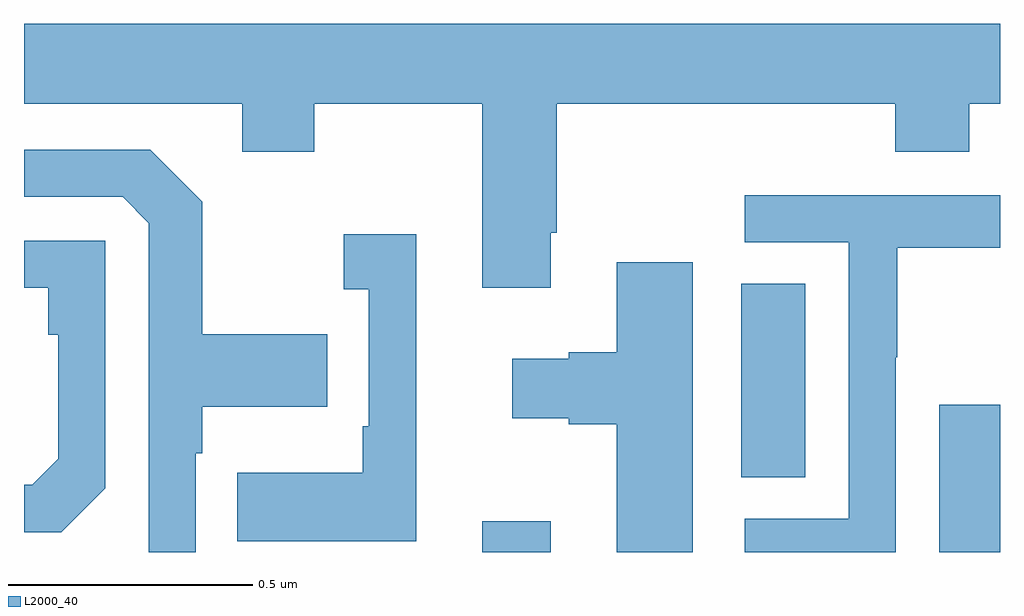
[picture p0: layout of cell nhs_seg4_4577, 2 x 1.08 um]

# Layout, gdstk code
import gdstk
lib = gdstk.Library(unit=1e-6, precision=1e-09)
def R(c, l, rs):  # rectangles x0, y0, x1, y1
    for r in rs: c.add(gdstk.rectangle(r[:2], r[2:], *l))
def P(c, l, *ps):  # polygons
    for p in ps: c.add(gdstk.Polygon(p, *l))
L2000_40 = (2000, 40)

nhs_seg4_4577 = lib.new_cell('nhs_seg4_4577')
R(nhs_seg4_4577, L2000_40, [(167.939,795.9,168.079,795.964), (168.875,795.9,169,796.203), (168.47,796.054,168.601,796.451)])
P(nhs_seg4_4577, L2000_40, [(168.079,796.555),(168.092,796.555),(168.092,796.82),(168.785,796.82),(168.785,796.721),(168.937,796.721),(168.937,796.82),(169,796.82),(169,796.984),(167,796.984),(167,796.82),(167.447,796.82),(167.447,796.721),(167.595,796.721),(167.595,796.82),(167.939,796.82),(167.939,796.443),(168.079,796.443)],
  [(167.352,796.103),(167.365,796.103),(167.365,796.199),(167.621,796.199),(167.621,796.347),(167.365,796.347),(167.365,796.619),(167.259,796.725),(167,796.725),(167,796.629),(167.202,796.629),(167.256,796.575),(167.256,795.9),(167.352,795.9)],
  [(168.786,796.3),(168.789,796.3),(168.789,796.524),(169,796.524),(169,796.632),(168.477,796.632),(168.477,796.536),(168.69,796.536),(168.69,795.969),(168.477,795.969),(168.477,795.9),(168.786,795.9)],
  [(167.804,796.552),(167.655,796.552),(167.655,796.439),(167.706,796.439),(167.706,796.159),(167.694,796.159),(167.694,796.063),(167.437,796.063),(167.437,795.923),(167.804,795.923)],
  [(167.166,796.032),(167.166,796.539),(167,796.539),(167,796.443),(167.05,796.443),(167.05,796.346),(167.07,796.346),(167.07,796.092),(167.017,796.039),(167,796.039),(167,795.942),(167.076,795.942)],
  [(168.37,796.495),(168.215,796.495),(168.215,796.31),(168.116,796.31),(168.116,796.297),(168,796.297),(168,796.175),(168.116,796.175),(168.116,796.163),(168.215,796.163),(168.215,795.9),(168.37,795.9)])

lib.write_gds('nhs_seg4_4577.gds')
